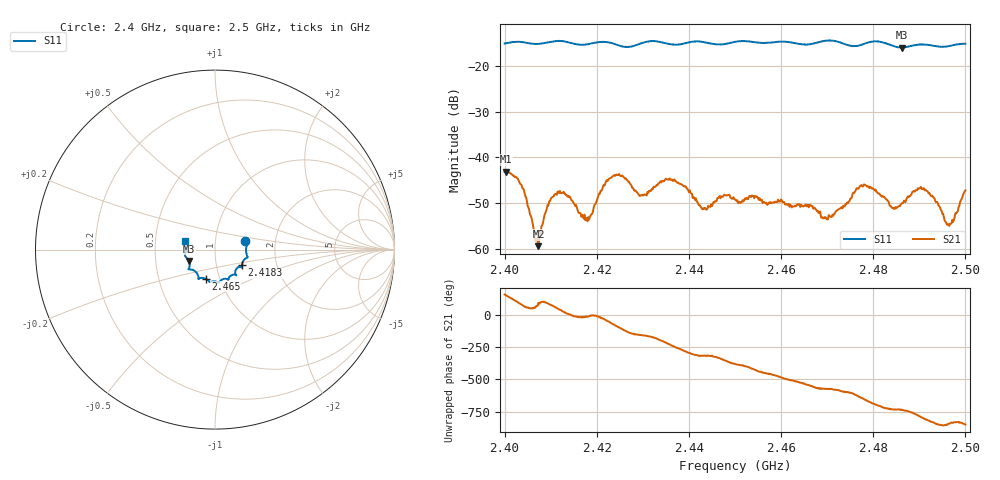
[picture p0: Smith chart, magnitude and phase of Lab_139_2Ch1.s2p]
# Hz S RI R 50
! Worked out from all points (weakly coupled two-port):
!   601 points, 2.4 GHz to 2.5 GHz, reference 50 ohm
!   highest |S21| = -43.11 dB at 2.4003 GHz (marker M1); lowest = -59.4 dB at 2.4073 GHz (marker M2)
!   lowest |S11| = -16.0 dB at 2.4862 GHz (marker M3), VSWR 1.37, Z = 37.1 - j4.8 ohm
!   |S11| at or under -10 dB: start of sweep to end of sweep
!   S12 and S22 are empty: the file has one direction only
!   S11 on the Smith chart (normalised r, x): 2.4 GHz: 1.40, +0.13; 2.4183 GHz: 1.33, -0.24; 2.465 GHz: 0.86, -0.29; 2.5 GHz: 0.71, +0.07
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2.4e9  0.1686 0.0454  -0.00635 0.00274  0 0  0 0
2.400333e9  0.1707 0.0433  -0.00604 0.00352  0 0  0 0
2.403833e9  0.179 0.0282  0.00115 0.00449  0 0  0 0
2.407333e9  0.1729 -0.00755  -3.49e-05 0.00107  0 0  0 0
2.4115e9  0.1819 -0.041  0.00282 0.00314  0 0  0 0
2.416667e9  0.1547 -0.0685  0.00215 -0.000608  0 0  0 0
2.418333e9  0.1497 -0.0868  0.00204 -0.00044  0 0  0 0
2.423833e9  0.1438 -0.0965  0.00133 -0.00626  0 0  0 0
2.4295e9  0.113 -0.1332  -0.00351 -0.00153  0 0  0 0
2.433333e9  0.1168 -0.1415  -0.00507 0.000976  0 0  0 0
2.437333e9  0.0868 -0.1461  -0.00134 0.00519  0 0  0 0
2.443333e9  0.0707 -0.1661  0.00202 0.00186  0 0  0 0
2.45e9  0.0251 -0.1806  0.00324 -0.00125  0 0  0 0
2.465e9  -0.0528 -0.162  -0.00291 -0.000382  0 0  0 0
2.466667e9  -0.0714 -0.1575  -0.00285 0.000639  0 0  0 0
2.4705e9  -0.0926 -0.1644  -0.00189 0.0013  0 0  0 0
2.477833e9  -0.131 -0.1113  0.0018 0.00448  0 0  0 0
2.483333e9  -0.1423 -0.0959  0.00325 -0.000587  0 0  0 0
2.486167e9  -0.1447 -0.063  0.00297 -0.000955  0 0  0 0
2.490833e9  -0.1672 -0.0337  0.000664 -0.00454  0 0  0 0
2.4965e9  -0.1624 0.0223  -0.000995 -0.00147  0 0  0 0
2.5e9  -0.167 0.0475  -0.00288 -0.00327  0 0  0 0
